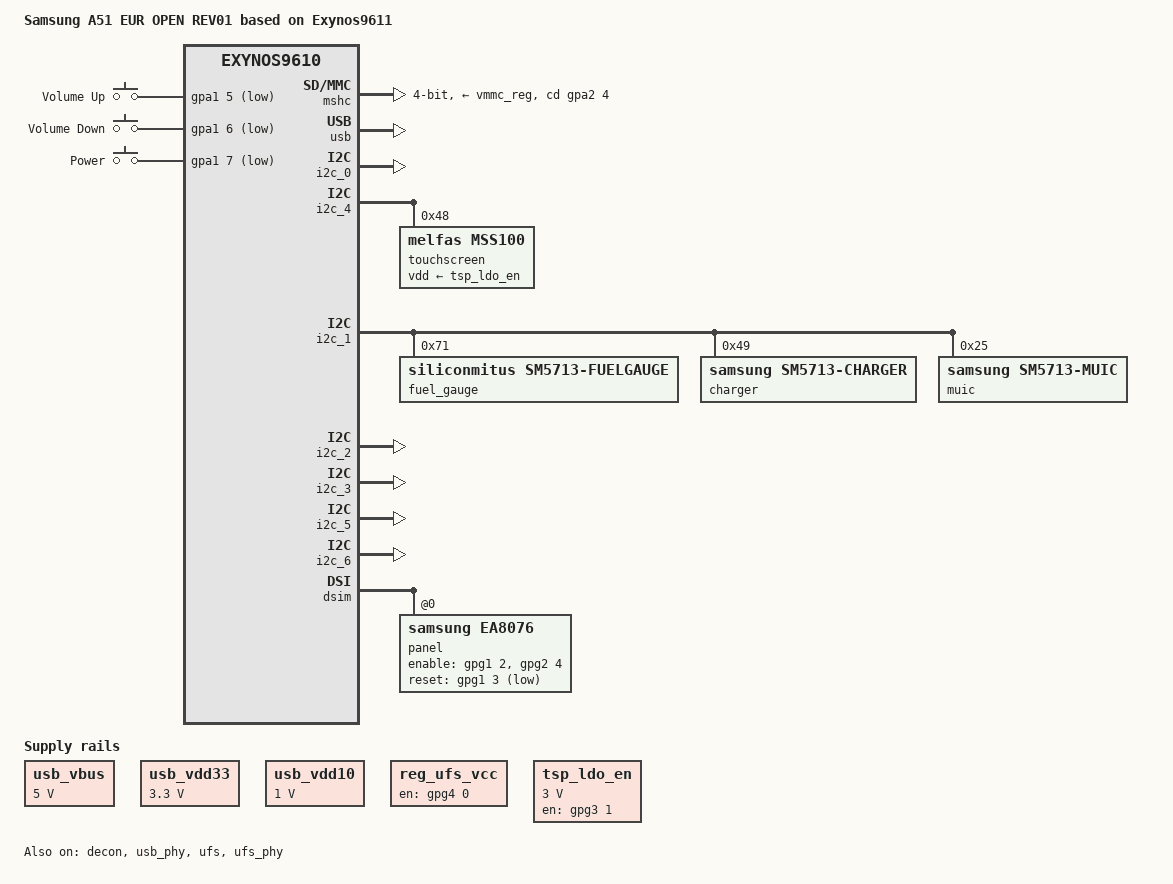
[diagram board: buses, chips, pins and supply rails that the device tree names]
// SPDX-License-Identifier: GPL-2.0
/*
 * Samsung Galaxy A51 device tree source
 */

/dts-v1/;

#include "exynos9611.dtsi"
#include <dt-bindings/clock/samsung,exynos9610-cmu.h>
#include <dt-bindings/gpio/gpio.h>
#include <dt-bindings/input/input.h>
#include <dt-bindings/thermal/thermal.h>

/*
 * Model and generic compatible strings are from
 * notes/device-dump/20261026-1937/live-device-tree.dts:6-10.
 * No board-specific compatible has been found; do not infer one from the model.
 */
/ {
	model = "Samsung A51 EUR OPEN REV01 based on Exynos9611";
	compatible = "samsung,armv8", "samsung,exynos9610";

	mshc: mmc@13550000 {
		compatible = "samsung,exynos9611-dw-mshc";
		reg = <0x0 0x13550000 0x2000>;
		clocks = <&cmu_fsys CLK_FSYS_GOUT_MMC_CARD_ACLK>,
			 <&cmu_top CLK_TOP_GOUT_FSYS_MMC_CARD>,
			 <&cmu_fsys CLK_FSYS_GOUT_MMC_CARD_SDCLKIN>,
			 <&cmu_fsys CLK_FSYS_GOUT_MMC_CARD_QCH>;
		clock-names = "biu", "ciu", "sdclkin", "qch";
		/*
		 * Match the vendor identification setup: downstream reports
		 * "Bus speed = 24999996Hz (slot req 400000Hz, actual 390624Hz
		 * div = 32)" for CMD8/ACMD41, i.e. a ~25 MHz CIU with CLKDIV 32,
		 * and only raises the CIU per speed mode through its ciu_clkin
		 * table. mainline keeps a fixed CIU, and the composite clock's
		 * divider is read-only, so selecting a rate alone does nothing;
		 * select the 26 MHz oscillator on the MMC card mux instead.
		 * That switching per speed mode is the missing feature to
		 * implement once identification works.
		 */
		assigned-clocks = <&cmu_top CLK_TOP_MOUT_FSYS_MMC_CARD>;
		assigned-clock-parents = <&cmu_top CLK_TOP_FOUT_MMC_PLL>;
		interrupts = <GIC_SPI 147 IRQ_TYPE_LEVEL_HIGH>;
		fifo-depth = <64>;
		desc-size = <4>;
		card-detect-delay = <200>;
		cd-gpios = <&gpa2 4 GPIO_ACTIVE_HIGH>;
		/*
		 * Both card rails start at 3.3 V for non-UHS identification.
		 * The stock 1.8 V LDO2 value was read after the vendor kernel
		 * had already performed CMD11 and switched the card to UHS
		 * signaling; driving vqmmc at 1.8 V before that switch leaves
		 * the card's data outputs out of spec and was the state in
		 * which ACMD51/SCR read timed out. UHS support can widen these
		 * constraints later, after CMD11/tuning is implemented.
		 */
		vmmc-supply = <&vmmc_reg>;
		vqmmc-supply = <&vqmmc_reg>;
		bus-width = <4>;
		/*
		 * High Speed only.  UHS-I was tried and parked: the CMD11
		 * switch fails with the S2MPU09 vqmmc rail ("SD UHS voltage
		 * switch err=-11", then "CMD8 failure", so card enumeration
		 * fails).  Never re-enable sd-uhs-* without a working 1.8 V
		 * switch and tuning: this card is the boot medium and the
		 * failure mode is an unbootable board.
		 */
		max-frequency = <50000000>;
		no-1-8-v;
		disable-wp;
		cap-sd-highspeed;
		supports-4bit;
		supports-cmd23;
		samsung,dw-mshc-ciu-div = <3>;
		samsung,dw-mshc-sdr-timing = <0 2>;
		samsung,dw-mshc-ddr-timing = <0 0>;
		pinctrl-names = "default";
		pinctrl-0 = <&dwmmc2_cd_ext_irq &sd2_clk &sd2_cmd &sd2_bus1
			     &sd2_bus4>;
		status = "okay";
	};

	/*
	 * USB2 peripheral-only bring-up. The PHY and controller rails are
	 * fixed always-on placeholders for this test; no GPIO or VBUS source
	 * is controlled here. dr_mode is fixed to peripheral and SuperSpeed
	 * is not enabled.
	 */
	usb_vbus: regulator-usb-vbus {
		compatible = "regulator-fixed";
		regulator-name = "usb-vbus";
		regulator-min-microvolt = <5000000>;
		regulator-max-microvolt = <5000000>;
		regulator-always-on;
	};

	usb_vdd33: regulator-usb-vdd33 {
		compatible = "regulator-fixed";
		regulator-name = "usb-vdd33";
		regulator-min-microvolt = <3300000>;
		regulator-max-microvolt = <3300000>;
		regulator-always-on;
	};

	usb_vdd10: regulator-usb-vdd10 {
		compatible = "regulator-fixed";
		regulator-name = "usb-vdd10";
		regulator-min-microvolt = <1000000>;
		regulator-max-microvolt = <1000000>;
		regulator-always-on;
	};

	usb_phy: phy@131d0000 {
		compatible = "samsung,exynos9610-usbdrd-phy";
		reg = <0x0 0x131d0000 0x200>;
		clocks = <&cmu_usb CLK_USB_QCH_USB30>,
			 <&cmu_usb CLK_USB_QCH_USBPHY_20CTRL>,
			 <&cmu_usb CLK_USB_QCH_USBPHY_30CTRL_0>,
			 <&cmu_usb CLK_USB_QCH_USBPHY_30CTRL_1>,
			 <&oscclk>;
		clock-names = "hsdrd", "usb20", "usb30_0", "usb30_1",
			      "ref";
		samsung,pmu-syscon = <&pmu_system_controller>;
		vbus-supply = <&usb_vbus>;
		vbus-boost-supply = <&usb_vbus>;
		#phy-cells = <1>;
		status = "okay";
	};

	usb: usb@13200000 {
		compatible = "samsung,exynos9610-dwusb3";
		reg = <0x0 0x13200000 0x10000>;
		clocks = <&cmu_usb CLK_USB_QCH_USB30>;
		clock-names = "hsdrd";
		vdd33-supply = <&usb_vdd33>;
		vdd10-supply = <&usb_vdd10>;
		#address-cells = <2>;
		#size-cells = <1>;
		ranges;
		status = "okay";

		usb_dwc3: dwc3 {
			compatible = "snps,dwc3";
			reg = <0x0 0x13200000 0x10000>;
			interrupts = <GIC_SPI 186 IRQ_TYPE_LEVEL_HIGH>;
			phys = <&usb_phy 0>;
			phy-names = "usb2-phy";
			dr_mode = "peripheral";
			maximum-speed = "high-speed";
			snps,dis-u2-freeclk-exists-quirk;
			snps,dis_enblslpm_quirk;
			snps,dis_rxdet_inp3_quirk;
			status = "okay";
		};
	};

	/*
	 * Framebuffer values are from uniloader-bootloader/board/samsung/
	 * board-a51.c:10-24 and uniloader-bootloader/lib/simplefb/simplefb.c:43-48.
	 * Cell sizes follow MAINLINE/arch/arm64/boot/dts/exynos/
	 * exynos9810-starlte.dts:17-28.
	 */
	chosen {
		#address-cells = <2>;
		#size-cells = <1>;
		ranges;
		bootargs = "console=tty0 loglevel=7 printk.time=1 printk.always_kmsg_dump=Y rootfstype=ramfs net.ifnames=0";

		/*
		 * uniloader-bootloader/board/samsung/board-a51.c:10-24;
		 * byte order is from uniloader-bootloader/lib/simplefb/
		 * simplefb.c:43-48. Row pitch is 1080 * 4 = 4320.
		 */
		framebuffer@ca000000 {
			compatible = "simple-framebuffer";
			reg = <0x0 0xca000000 0x9e3400>;
			width = <1080>;
			height = <2400>;
			stride = <4320>;
			format = "a8r8g8b8";
		};
	};

	/*
	 * Live memory banks: notes/device-dump/20261026-1937/live-device-tree.dts:
	 * 1904, 3110, 5360, 6492, 6587.
	 */
	memory@80000000 {
		device_type = "memory";
		reg = <0x0 0x80000000 0x3ab00000>,
		      <0x0 0xc0000000 0x20000000>,
		      <0x0 0xe1900000 0x1e700000>,
		      <0x8 0x80000000 0x80000000>,
		      <0x9 0x00000000 0x80000000>;
	};

	gpio-keys {
		compatible = "gpio-keys";
		label = "a51-keys";
		pinctrl-names = "default";
		pinctrl-0 = <&key_volup &key_voldown &key_power>;

		volume-up {
			label = "Volume Up";
			linux,code = <KEY_VOLUMEUP>;
			gpios = <&gpa1 5 GPIO_ACTIVE_LOW>;
			wakeup-source;
		};

		volume-down {
			label = "Volume Down";
			linux,code = <KEY_VOLUMEDOWN>;
			gpios = <&gpa1 6 GPIO_ACTIVE_LOW>;
			wakeup-source;
		};

		power {
			label = "Power";
			linux,code = <KEY_POWER>;
			gpios = <&gpa1 7 GPIO_ACTIVE_LOW>;
			wakeup-source;
		};
	};

	/*
	 * Reservation structure follows MAINLINE/arch/arm64/boot/dts/exynos/
	 * exynos9810-starlte.dts:68-82. The range is from
	 * uniloader-bootloader/board/samsung/board-a51.c:10-24, with byte size
	 * derived from 1080 * 2400 * 4.
	 */
	reserved-memory {
		#address-cells = <2>;
		#size-cells = <1>;
		ranges;

		/*
		 * Framebuffer reservation from uniloader-bootloader/board/samsung/
		 * board-a51.c:10-24; size is derived from 1080 * 2400 * 4.
		 */
		framebuffer@ca000000 {
			reg = <0x0 0xca000000 0x9e3400>;
			no-map;
		};

		/*
		 * Contiguous pool for the display driver's GEM buffers.  The DPU
		 * IDMA channel takes plain 32-bit physical addresses, so scanout
		 * buffers have to be contiguous.  A 1080x2400 XRGB8888 frame is
		 * 10.4 MiB, so 64 MiB leaves room for double/triple buffering on
		 * top of the fbdev console buffer.  The pool is reusable, so
		 * unused pages still count as free memory.
		 */
		/*
		 * NOTE: the pool must live below 4 GiB.  Without alloc-ranges the
		 * allocator places it in the first large free area, which on this
		 * board is above 4 GiB (0x9_7e00000); the DPU IDMA channel only has
		 * 32-bit address registers, so dma_coherent_ok() rejects such pages
		 * and every scanout buffer allocation fails.
		 */
		cma_reserved: linux,cma {
			compatible = "shared-dma-pool";
			reusable;
			size = <0x4000000>;
			/* 2 GiB window starting at 0x80000000 (address cells 2, size 1) */
			alloc-ranges = <0x0 0x80000000 0x80000000>;
			linux,cma-default;
		};

		/*
		 * Device-verified persistent log area, supplied by the user.
		 * The stock Android 4.14 recovery kernel reads this area with the
		 * same 2 MiB reservation, so the partition layout below is chosen
		 * to be recoverable by it. See the buffer-size comment.
		 */
		ramoops@f9d10000 {
			compatible = "ramoops";
			reg = <0x0 0xf9d10000
			       0x00200000>;
			/* Keep the region out of the linear map: ramoops vmaps it itself. */
			no-map;
			/*
			 * Write-combined: records reach DRAM immediately, so a panic
			 * record cannot be lost in a dirty cache. Mapping changes were
			 * measured and do not affect the ~7 % single-bit damage these
			 * records carry; see notes/progress.md 2026-11-10.
			 */
			mem-type = <0>;

			/*
			 * Recovery (4.14) initializes zones in the order dmesg,
			 * console, ftrace, pmsg; mainline initializes dmesg, console,
			 * pmsg, ftrace. Equal 512 KiB buffers therefore put pmsg at
			 * the offset recovery reads as ftrace and vice versa, and the
			 * ftrace signature (LINUX_VERSION_CODE) makes those records
			 * unreadable across kernel versions.
			 *
			 * Resulting map at 0xf9d10000:
			 *   0x000000 dmesg   0x080000  -> recovery dmesg
			 *   0x080000 console 0x100000  -> recovery console (same start)
			 *   0x180000 pmsg    0x080000  -> recovery pmsg (same start)
			 *
			 * Keep console output below 512 KiB: recovery only maps
			 * 512 KiB there and rejects a larger record as an invalid
			 * existing buffer. ftrace is disabled because its records are
			 * never readable by another kernel version anyway.
			 */
			record-size = <0x00080000>;
			console-size = <0x00100000>;
			ftrace-size = <0>;
			pmsg-size = <0x00080000>;
			max-reason = <0>;
		};
	};

};

&pinctrl_alive {
	key_volup: key-volup-pins {
		/* Match the vendor A51 key pin configuration. */
		samsung,pins = "gpa1-5";
		samsung,pin-function = <0xf>;
		samsung,pin-pud = <0>;
		samsung,pin-drv = <0>;
	};

	key_voldown: key-voldown-pins {
		samsung,pins = "gpa1-6";
		samsung,pin-function = <0xf>;
		samsung,pin-pud = <0>;
		samsung,pin-drv = <0>;
	};

	key_power: key-power-pins {
		samsung,pins = "gpa1-7";
		samsung,pin-function = <0xf>;
		samsung,pin-pud = <0>;
		samsung,pin-drv = <0>;
	};
};

/*
 * UFS (embedded).  Registers, GPIOs and the reset/refclk pin functions come
 * from DOWNSTREAM_READONLY/arch/arm64/boot/dts/exynos/exynos9610.dts:2678-2778.
 * vcc-supply is a fixed always-on regulator gated by gpg4-0 on the A51.
 */
/ {
	reg_ufs_vcc: regulator-ufs-vcc {
		compatible = "regulator-fixed";
		regulator-name = "ufs-vcc";
		gpio = <&gpg4 0 GPIO_ACTIVE_HIGH>;
		regulator-boot-on;
		enable-active-high;
	};

	ufs: ufs@13520000 {
		compatible = "samsung,exynos9610-ufs";
		reg = <0x0 0x13520000 0x200>,	/* hci */
		      <0x0 0x13521100 0x200>,	/* vs_hci */
		      <0x0 0x13510000 0x8000>,	/* unipro */
		      <0x0 0x13530000 0x1000>;	/* ufsp */
		reg-names = "hci", "vs_hci", "unipro", "ufsp";
		interrupts = <GIC_SPI 157 IRQ_TYPE_LEVEL_HIGH>;
		clocks = <&cmu_fsys CLK_FSYS_GOUT_UFS_EMBD_QCH_UFS>,
			 <&cmu_fsys CLK_FSYS_GOUT_UFS_EMBD_UNIPRO>;
		clock-names = "core_clk", "sclk_unipro_main";
		freq-table-hz = <0 0>, <0 0>;
		pinctrl-names = "default";
		pinctrl-0 = <&ufs_rst_n &ufs_refclk_out>;
		phys = <&ufs_phy>;
		phy-names = "ufs-phy";
		vcc-supply = <&reg_ufs_vcc>;
		vcc-fixed-regulator;
		samsung,sysreg = <&sysreg_fsys 0x1010>;
		dma-coherent;
		status = "okay";
	};

	ufs_phy: ufs-phy@13524000 {
		compatible = "samsung,exynos9610-ufs-phy";
		reg = <0x0 0x13524000 0x800>;
		reg-names = "phy-pma";
		samsung,pmu-syscon = <&pmu_system_controller 0x724>;
		clocks = <&oscclk_fsys>;
		clock-names = "ref_clk";
		#phy-cells = <0>;
		status = "okay";
	};
};

/*
 * Legacy I2C buses, enabled purely for discovery: the vendor A51 board DTS is
 * not available, so which bus carries the PMIC / charger / fuel gauge is
 * unknown.  All seven are scanned read-only with i2cdetect; unused ones get
 * disabled again once the device map is known.
 */
&i2c_0 {
	status = "okay";
};

/*
 * Touch controller supply.  The vendor feeds the Melfas panel from a fixed
 * 3.0 V rail gated by gpg3-1 and leaves it on from boot
 * (DOWNSTREAM_READONLY/arch/arm64/boot/dts/samsung/exynos9611-a51_common.dtsi:524-532).
 */
/ {
	tsp_ldo_en: regulator-tsp-ldo-en {
		compatible = "regulator-fixed";
		regulator-name = "tsp_ldo_en";
		regulator-min-microvolt = <3000000>;
		regulator-max-microvolt = <3000000>;
		gpio = <&gpg3 1 GPIO_ACTIVE_HIGH>;
		enable-active-high;
		regulator-boot-on;
	};
};

&i2c_4 {
	status = "okay";

	touchscreen@48 {
		compatible = "melfas,mss100";
		reg = <0x48>;
		pinctrl-names = "default";
		pinctrl-0 = <&attn_irq>;
		vdd-supply = <&tsp_ldo_en>;
	};
};

&pinctrl_alive {
	attn_irq: attn-irq-pins {
		samsung,pins = "gpa0-0";
		samsung,pin-function = <0xf>;
		samsung,pin-pud = <0>;
		samsung,pin-drv = <0>;
	};
};

&i2c_1 {
	status = "okay";
};

&i2c_2 {
	status = "okay";
};

&i2c_3 {
	status = "okay";
};

&i2c_4 {
	status = "okay";
};

&i2c_5 {
	status = "okay";
};

&i2c_6 {
	status = "okay";
};

/*
 * SM5713 fuel gauge (I2C address 0x71).  The chip also provides the charger
 * (0x49) and MUIC (0x25) on i2c_1 and a USB-PD controller on i2c_0; only the
 * fuel gauge has a mainline driver so far.
 */
&i2c_1 {
	fuel_gauge: fuel-gauge@71 {
		compatible = "siliconmitus,sm5713-fuelgauge";
		reg = <0x71>;
	};

	charger: charger@49 {
		compatible = "samsung,sm5713-charger";
		reg = <0x49>;
	};

	muic: muic@25 {
		compatible = "samsung,sm5713-muic";
		reg = <0x25>;
	};
};

/*
 * Thermal zone.  The TMU block carries several sensing points across the
 * BIG, LITTLE, G3D and ISP channels; the driver reports the hottest of the
 * live ones, so a single zone covers the whole SoC.  Per-channel zones need
 * the channel/sensing point mapping, which is not established yet.
 *
 * There is no cooling device (CPU DVFS is firmware owned and does not answer
 * mainline), so passive trips only document intent; the critical trip is the
 * one that acts, and it performs an orderly shutdown at the vendor default of
 * 115 C.  The decode behind it was validated against the fuel gauge.
 */
/ {
	thermal-zones {
		/*
		 * Extra sensing points, deliberately WITHOUT trip points: a zone
		 * with no trips can only report, never act, so a wrong decode
		 * cannot shut the device down.  Sensor ids: 0-7 are the eight
		 * packed 9-bit codes (two per register), 8 is the driver's
		 * synthetic "hottest trimmed point" id.  Add trips only after
		 * the decode has been checked on hardware.
		 */
		package-thermal {
			polling-delay = <1000>;
			thermal-sensors = <&tmu 2>;
		};

		hottest-thermal {
			polling-delay = <1000>;
			thermal-sensors = <&tmu 8>;
		};

		/*
		 * The CPU cluster throttling zone.  Without cooling maps a zone
		 * can only report, which is how the device ran until now: an
		 * all-core load at the boot operating points settles at 50 C, but
		 * the top operating points reach 111 C in 12 s and the platform
		 * shuts down.
		 *
		 * Each trip forces a minimum cooling state instead of relying on
		 * step_wise stepping one state per poll: that governor only steps
		 * while the trend is rising, so it stalls once the temperature
		 * plateaus above the trip (observed: state 4 of 14 at 92 C).  A
		 * lower bound in the cooling map is applied as soon as the trip is
		 * crossed, which makes the reaction deterministic.
		 */
		soc-thermal {
			polling-delay = <500>;
			polling-delay-passive = <500>;
			thermal-sensors = <&tmu 0>;

			trips {
				cpu_alert0: cpu-alert-0 {
					temperature = <65000>;
					hysteresis = <4000>;
					type = "passive";
				};
				cpu_alert1: cpu-alert-1 {
					temperature = <75000>;
					hysteresis = <4000>;
					type = "passive";
				};
				cpu_alert2: cpu-alert-2 {
					temperature = <85000>;
					hysteresis = <4000>;
					type = "passive";
				};
				soc_hot: soc-hot {
					temperature = <95000>;
					hysteresis = <2000>;
					type = "hot";
				};
				soc_crit: soc-critical {
					temperature = <100000>;
					hysteresis = <0>;
					type = "critical";
				};
			};

			cooling-maps {
				map0 {
					trip = <&cpu_alert0>;
					cooling-device = <&cpu0 3 THERMAL_NO_LIMIT>,
							 <&cpu4 3 THERMAL_NO_LIMIT>;
				};
				map1 {
					trip = <&cpu_alert1>;
					cooling-device = <&cpu0 7 THERMAL_NO_LIMIT>,
							 <&cpu4 7 THERMAL_NO_LIMIT>;
				};
				/*
				 * 9 and not 11: a bound above the cooling
				 * device's max_state makes the bind fail with
				 * -EINVAL, and with the default volt_scale=0 the
				 * policies only expose ten levels.
				 */
				map2 {
					trip = <&cpu_alert2>;
					cooling-device = <&cpu0 9 THERMAL_NO_LIMIT>,
							 <&cpu4 9 THERMAL_NO_LIMIT>;
				};
			};
		};
	};
};

/*
 * Display processing unit.  The Samsung boot chain already brings DECON, DSIM
 * and the panel up before Linux starts, so the handoff driver only needs the
 * pipe enabled and the panel mode described.  The timings below are the A51's
 * 1080x2400 command-mode panel mode; they are reported to userspace and used
 * to validate modes, DSIM bring-up is still to come.
 */
/*
 * The panel hangs off the DSI host: the driver speaks DCS to it over the link
 * the boot chain brought up, and takes over its power-on sequence, brightness
 * and display on/off from there.
 */
&dsim {
	status = "okay";

	panel: panel@0 {
		compatible = "samsung,ea8076";
		reg = <0>;

		/*
		 * The two panel rails are switched by GPIOs, not by regulators:
		 * 1.8 V comes up first, the 3.0 V rail follows 1 ms later.  The
		 * reset line is active low and is pulsed once the rails are up.
		 */
		enable-gpios = <&gpg1 2 GPIO_ACTIVE_HIGH>,	/* 1.8 V */
			       <&gpg2 4 GPIO_ACTIVE_HIGH>;	/* 3.0 V */
		reset-gpios = <&gpg1 3 GPIO_ACTIVE_LOW>;
	};
};

/*
 * The panel drives TE over a wire into DECON's TE input (vendor "decon_f_te_on":
 * gpc2-3 at function 0xf).  gpc2 belongs to pin-controller 4 (pinctrl@139B0000),
 * not ALIVE.  Without this mux nothing ever sees a tearing effect and a
 * command-mode panel simply keeps showing its last frame: commits and vblanks
 * all look healthy while nothing reaches the glass.
 */
&pinctrl_top {
	decon_f_te_on: decon-f-te-on-pins {
		samsung,pins = "gpc2-3";
		samsung,pin-function = <0xf>;
		samsung,pin-pud = <0>;
	};
};

&decon {
	status = "okay";
	pinctrl-names = "default";
	pinctrl-0 = <&decon_f_te_on>;
	/*
	 * The DPU IDMA channel takes plain 32-bit physical addresses, so its
	 * scanout buffers must be contiguous low memory.  Bind the shared CMA
	 * pool to this device explicitly: the generic "linux,cma-default" area
	 * is not picked up for this platform, and without it every buffer above
	 * MAX_ORDER falls back to the buddy allocator and fails.
	 */
	memory-region = <&cma_reserved>;

	display-timings {
		native-mode = <&panel_timing>;

		panel_timing: timing0 {
			clock-frequency = <162000000>;
			hactive = <1080>;
			vactive = <2400>;
			hfront-porch = <20>;
			hback-porch = <10>;
			hsync-len = <5>;
			vfront-porch = <8>;
			vback-porch = <8>;
			vsync-len = <4>;
			hsync-active = <0>;
			vsync-active = <0>;
			de-active = <1>;
			pixelclk-active = <0>;
		};
	};
};

/* CPU cluster clock control (AP-side cpufreq). */
&cpuclk {
	status = "okay";
};

/*
 * The LITTLE rail hangs the SoC between 637.5 mV and 600 mV (600 mV being what
 * the vendor table asks for at 403 MHz), so it is never written below 650 mV.
 * The big rail tolerated 600 mV in the same test, but keeping one floor for both
 * is simpler and still well clear of every operating point it has to reach.
 */
&cpuclk0 {
	samsung,rail-floor-uv = <650000>;
};
